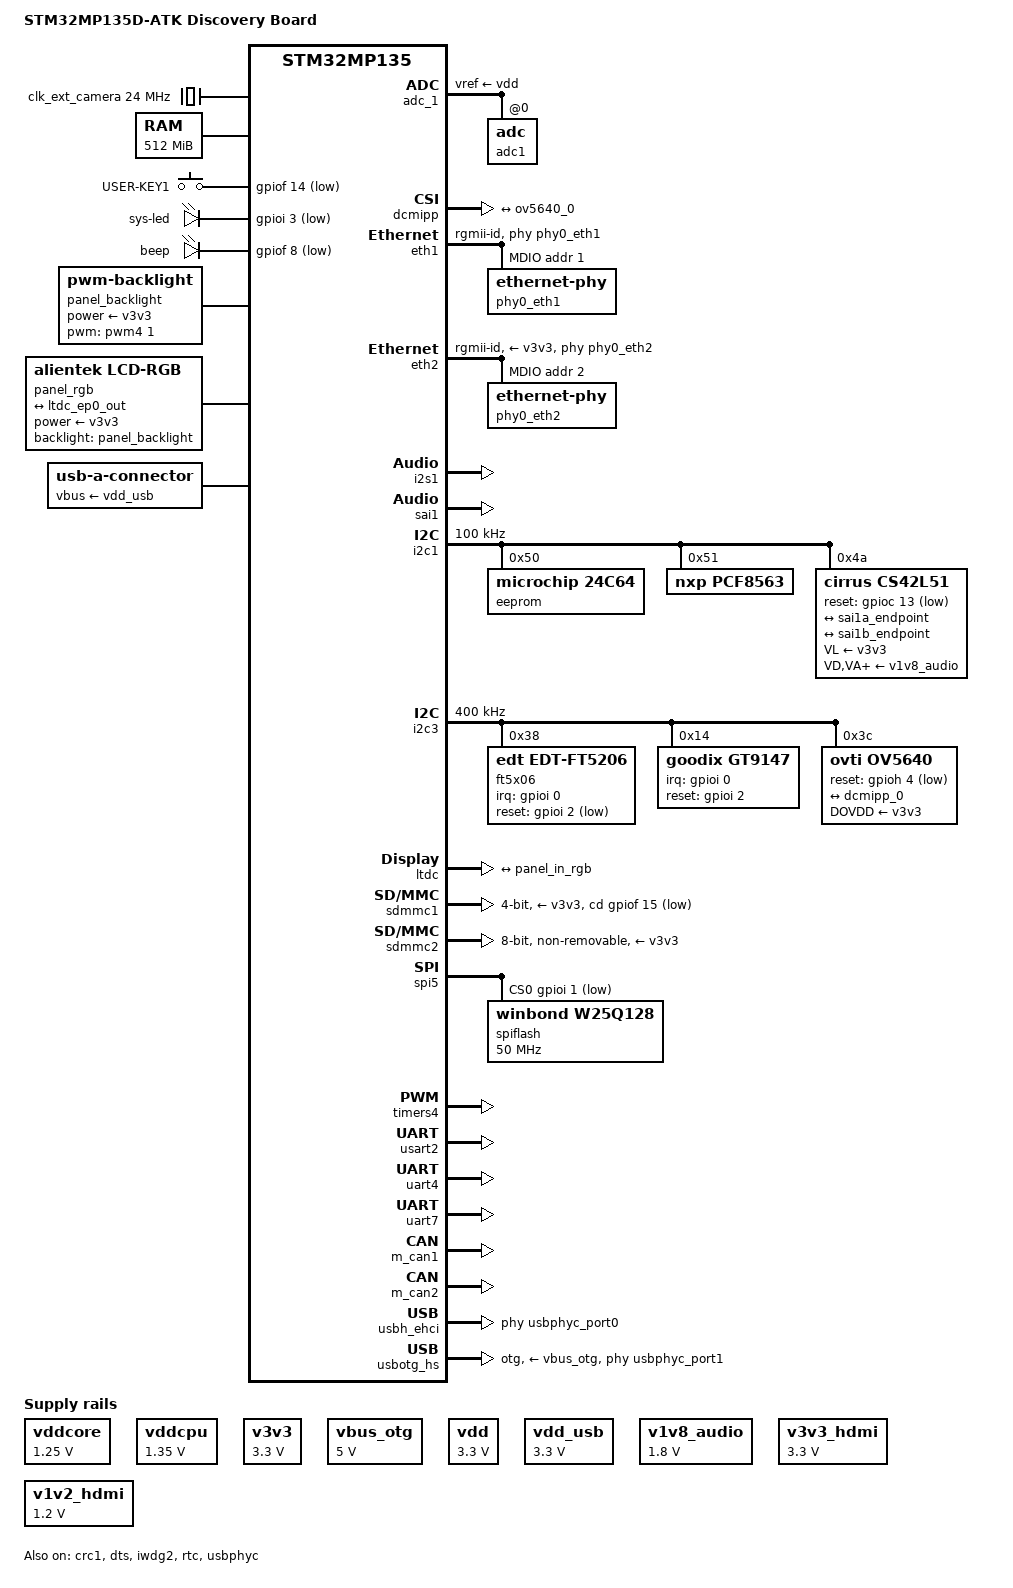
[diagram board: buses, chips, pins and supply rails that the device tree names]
// SPDX-License-Identifier: (GPL-2.0+ OR BSD-3-Clause)
/*
 * Copyright (C) STMicroelectronics 2022 - All Rights Reserved
 * Author: Alexandre Torgue <alexandre.torgue@foss.st.com> for STMicroelectronics.
 */

/dts-v1/;

#include <dt-bindings/gpio/gpio.h>
#include <dt-bindings/input/input.h>
#include <dt-bindings/leds/common.h>
#include <dt-bindings/rtc/rtc-stm32.h>
#include "stm32mp135.dtsi"
#include "stm32mp13xd.dtsi"
#include "stm32mp13-pinctrl-atk.dtsi"
#include <dt-bindings/usb/pd.h>
#include <dt-bindings/pwm/pwm.h>

/ {
	model = "STM32MP135D-ATK Discovery Board";
	compatible = "st,stm32mp135d-atk", "st,stm32mp135";

	aliases {
		ethernet0 = &eth1;
		ethernet1 = &eth2;
		serial0 = &uart4;
		serial1 = &usart2;
		serial2 = &uart7;
	};

	chosen {
		#address-cells = <1>;
		#size-cells = <1>;
		ranges;
		stdout-path = "serial0:115200n8";

		framebuffer {
			compatible = "simple-framebuffer";
			clocks = <&rcc LTDC_PX>;
			status = "disabled";
		};
	};

	clocks {
		clk_ext_camera: clk-ext-camera {
			#clock-cells = <0>;
			compatible = "fixed-clock";
			clock-frequency = <24000000>;
		};

		clk_mco1: clk-mco1 {
			#clock-cells = <0>;
			compatible = "fixed-clock";
			clock-frequency = <24000000>;
		};
	};

	memory@c0000000 {
		device_type = "memory";
		reg = <0xc0000000 0x20000000>;
	};

	gpio-keys {
		compatible = "gpio-keys";
		autorepeat;
		status = "okay";
		
		key1 {
			label = "USER-KEY1";
			linux,code = <114>;
			gpios = <&gpiof 14 (GPIO_ACTIVE_LOW | GPIO_PULL_UP)>;
			gpio-key,wakeup;
		};
	};

	leds {
		compatible = "gpio-leds";

		led-red {
			label = "sys-led";
			gpios = <&gpioi 3 GPIO_ACTIVE_LOW>;
			linux,default-trigger = "heartbeat";
			default-state = "off";
			status = "okay";
		};

		beep {
            label = "beep";
            gpios = <&gpiof 8 GPIO_ACTIVE_LOW>;
            default-state = "off";
			status = "okay";
         };
	};

	reserved-memory {
		#address-cells = <1>;
		#size-cells = <1>;
		ranges;

		optee_framebuffer@dd000000 {
			reg = <0xdd000000 0x1000000>;
			no-map;
		};

		optee@de000000 {
			reg = <0xde000000 0x2000000>;
			no-map;
		};
	};

	vddcore: vddcore {
        compatible = "regulator-fixed";
        regulator-name = "vddcore";
        regulator-min-microvolt = <1250000>;
        regulator-max-microvolt = <1250000>;
        regulator-off-in-suspend;
        regulator-always-on;
	};

	vddcpu: vddcpu {
		compatible = "regulator-fixed";
		regulator-name = "vddcpu";
		regulator-min-microvolt = <1350000>;
		regulator-max-microvolt = <1350000>;
        regulator-off-in-suspend;
        regulator-always-on;
	};

	v3v3: v3v3 {
        compatible = "regulator-fixed";
        regulator-name = "v3v3";
        regulator-min-microvolt = <3300000>;
        regulator-max-microvolt = <3300000>;
        regulator-off-in-suspend;
        regulator-always-on;
    };

	vbus_otg: vbus_otg {
        compatible = "regulator-fixed";
        regulator-name = "vbus_otg";
        regulator-min-microvolt = <5000000>;
        regulator-max-microvolt = <5000000>;
        regulator-off-in-suspend;
		regulator-always-on;
    };

	vdd: vdd {
        compatible = "regulator-fixed";
        regulator-name = "vdd";
        regulator-min-microvolt = <3300000>;
        regulator-max-microvolt = <3300000>;
        regulator-off-in-suspend;
        regulator-always-on;
    };

	vdd_usb: vdd_usb {
        compatible = "regulator-fixed";
        regulator-name = "vdd_usb";
        regulator-min-microvolt = <3300000>;
        regulator-max-microvolt = <3300000>;
        regulator-off-in-suspend;
        regulator-always-on;
    };

	v1v8_audio: regulator-v1v8_audio {
 		compatible = "regulator-fixed";
 		regulator-name = "v1v8_audio";
 		regulator-min-microvolt = <1800000>;
 		regulator-max-microvolt = <1800000>;
 		regulator-always-on;
 		regulator-boot-on;
	};

    v3v3_hdmi: regulator-v3v3-hdmi {
        compatible = "regulator-fixed";
        regulator-name = "v3v3_hdmi";
        regulator-min-microvolt = <3300000>;
        regulator-max-microvolt = <3300000>;
        regulator-always-on;
        regulator-boot-on;
    };

    v1v2_hdmi: regulator-v1v2-hdmi {
        compatible = "regulator-fixed";
        regulator-name = "v1v2_hdmi";
        regulator-min-microvolt = <1200000>;
        regulator-max-microvolt = <1200000>;
        regulator-always-on;
        regulator-boot-on;
    };

/*
	lcd_id select_id:
		alientek_4x3_480x272 = 0,
		alientek_7_800x480 = 1,
		alientek_7_1024x600 = 2,
		alientek_4x3_800x480 = 4,
		alientek_10_1280x800 = 5,
*/
	lcd_id {
        select_id = <2>;
    };

    panel_backlight: panel-backlight {
        compatible = "pwm-backlight";
        pwms = <&pwm4 1 5000000 0>;
		brightness-levels = <
                          0   1   2   3   4   5   6   7
                          8   9  10  11  12  13  14  15
                         16  17  18  19  20  21  22  23
                         24  25  26  27  28  29  30  31
                         32  33  34  35  36  37  38  39
                         40  41  42  43  44  45  46  47
                         48  49  50  51  52  53  54  55
                         56  57  58  59  60  61  62  63
                         64  65  66  67  68  69  70  71
                         72  73  74  75  76  77  78  79
                         80  81  82  83  84  85  86  87
                         88  89  90  91  92  93  94  95
                         96  97  98  99 100 101 102 103
                        104 105 106 107 108 109 110 111
                        112 113 114 115 116 117 118 119
                        120 121 122 123 124 125 126 127
                        128 129 130 131 132 133 134 135
                        136 137 138 139 140 141 142 143
                        144 145 146 147 148 149 150 151
                        152 153 154 155 156 157 158 159
                        160 161 162 163 164 165 166 167
                        168 169 170 171 172 173 174 175
                        176 177 178 179 180 181 182 183
                        184 185 186 187 188 189 190 191
                        192 193 194 195 196 197 198 199
                        200 201 202 203 204 205 206 207
                        208 209 210 211 212 213 214 215
                        216 217 218 219 220 221 222 223
                        224 225 226 227 228 229 230 231
                        232 233 234 235 236 237 238 239
                        240 241 242 243 244 245 246 247
                        248 249 250 251 252 253 254 255>;
        power-supply = <&v3v3>;
        default-brightness-level = <255>;
        status = "okay";
    };

	panel_rgb: panel-rgb {
		compatible = "alientek,lcd-rgb";
		backlight = <&panel_backlight>;
		power-supply = <&v3v3>;
		status = "okay";

		port {
			panel_in_rgb: endpoint {
				remote-endpoint = <&ltdc_ep0_out>;
			};
		};
	};

	sound: sound {
		compatible = "audio-graph-card";
		label = "STM32MP1-DK";
		routing =
			"Playback" , "MCLK",
			"Capture" , "MCLK",
			"MICL" , "Mic Bias";
		dais = <&sai1a_port &sai1b_port>;
		status = "okay";
	};
};

&adc_1 {
	pinctrl-names = "default";
	pinctrl-0 = <&adc1_pins_a>;
	vdda-supply = <&vdd>;
	vref-supply = <&vdd>;
	status = "okay";

	adc1: adc@0 {
		st,min-sample-time-nsecs = <10000>;
		st,adc-channels = <0>;
		assigned-resolution-bits = <12>;//adc max 12 bit
		status = "okay";
	};
};

&crc1 {
	status = "okay";
};

&dcmipp {
	status = "okay";
	pinctrl-names = "default", "sleep";
	pinctrl-0 = <&dcmipp_pins_a>;
	pinctrl-1 = <&dcmipp_sleep_pins_a>;

	port {
		dcmipp_0: endpoint {
			remote-endpoint = <&ov5640_0>;
			bus-width = <8>;
			hsync-active = <0>;
			vsync-active = <0>;
			pclk-sample = <1>;
			pclk-max-frequency = <77000000>;
		};
	};
};

&dma1 {
	sram = <&dma_pool>;
};

&dma2 {
	sram = <&dma_pool>;
};

&dts {
	status = "okay";
};

&eth1 {
	status = "okay";
	pinctrl-0 = <&eth1_rgmii_pins_a>;
	pinctrl-1 = <&eth1_rgmii_sleep_pins_a>;
	pinctrl-names = "default", "sleep";
	phy-mode = "rgmii-id";
	max-speed = <1000>;
	phy-handle = <&phy0_eth1>;
	nvmem-cells = <&ethernet_mac1_address>;
	nvmem-cell-names = "mac-address";

	mdio1 {
		#address-cells = <1>;
		#size-cells = <0>;
		compatible = "snps,dwmac-mdio";
		phy0_eth1: ethernet-phy@1 {
            reg = <1>;
		};
	};
};

&eth2 {
	status = "okay";
	pinctrl-0 = <&eth2_rgmii_pins_a>;
	pinctrl-1 = <&eth2_rgmii_sleep_pins_a>;
	pinctrl-names = "default", "sleep";
	phy-mode = "rgmii-id";
	max-speed = <1000>;
	phy-handle = <&phy0_eth2>;
	phy-supply = <&v3v3>;
	nvmem-cells = <&ethernet_mac2_address>;
	nvmem-cell-names = "mac-address";

	mdio1 {
		#address-cells = <1>;
		#size-cells = <0>;
		compatible = "snps,dwmac-mdio";
		phy0_eth2: ethernet-phy@2 {
            reg = <2>;
		};
	};
};

&i2s1 {
    clocks = <&rcc SPI1_K>, <&rcc SPI1_K>, <&scmi_clk CK_SCMI_PLL3_Q>, <&scmi_clk CK_SCMI_PLL3_R>;
    clock-names = "pclk", "i2sclk", "x8k", "x11k";
	status = "okay";
};

&sai1 {
    clocks = <&rcc SAI1>, <&scmi_clk  CK_SCMI_PLL3_Q>, <&scmi_clk  CK_SCMI_PLL3_R>;
    clock-names = "pclk", "x8k", "x11k";
    pinctrl-names = "default", "sleep";
    pinctrl-0 = <&sai1_pins_a>, <&sai1_pins_b>;
    pinctrl-1 = <&sai1_sleep_pins_a>, <&sai1_sleep_pins_b>;
    status = "okay";

    sai1a: audio-controller@4400a004 {
        #clock-cells = <0>;
        dma-names = "tx";
        status = "okay";

        sai1a_port: port {
            sai1a_endpoint: endpoint {
                remote-endpoint = <&cs42l51_tx_endpoint>;
                format = "i2s";
                mclk-fs = <256>; 
                dai-tdm-slot-num = <2>;
                dai-tdm-slot-width = <32>;
            };
        };
    };

    sai1b: audio-controller@4400a024 {
        dma-names = "rx";
        st,sync = <&sai1a 2>; /* Set SAI1B as slave of SAI1A. */
		clocks = <&rcc SAI1_K>, <&sai1a>;
		clock-names = "sai_ck", "MCLK";
		status = "okay";

        sai1b_port: port {
            sai1b_endpoint: endpoint {
                remote-endpoint = <&cs42l51_rx_endpoint>;
                format = "i2s";
                mclk-fs = <256>;
                dai-tdm-slot-num = <2>;
                dai-tdm-slot-width = <32>;
            };
        };
    };
};

&i2c1 {
	pinctrl-names = "default", "sleep";
	pinctrl-0 = <&i2c1_pins_a>;
	pinctrl-1 = <&i2c1_sleep_pins_a>;
	i2c-scl-rising-time-ns = <96>;
	i2c-scl-falling-time-ns = <3>;
	clock-frequency = <100000>;
	status = "okay";
	/* spare dmas for other usage */
	/delete-property/dmas;
	/delete-property/dma-names;

    eeprom@50 {
          compatible = "microchip,24c64", "atmel,24c64";
          reg = <0x50>;
          pagesize = <32>;
    };

	pcf8563@51{
		compatible = "nxp,pcf8563";
		reg = <0x51>;
		status = "okay";
	};

   cs42l51: cs42l51@4a {
        compatible = "cirrus,cs42l51";
        reg = <0x4a>;
        #sound-dai-cells = <0>;
        VL-supply = <&v3v3>;
        VD-supply = <&v1v8_audio>;
        VA-supply = <&v1v8_audio>;
        VAHP-supply = <&v1v8_audio>;
        reset-gpios = <&gpioc 13 GPIO_ACTIVE_LOW>;
        clocks = <&sai1a>;
        clock-names = "MCLK";
        status = "okay";

        cs42l51_port: port {
            #address-cells = <1>;
            #size-cells = <0>;

            cs42l51_tx_endpoint: endpoint@0 {
                reg = <0>;
                remote-endpoint = <&sai1a_endpoint>;
                frame-master;
                bitclock-master;
            };

            cs42l51_rx_endpoint: endpoint@1 {
                reg = <1>;
                remote-endpoint = <&sai1b_endpoint>;
                frame-master;
                bitclock-master;
            };
        };
    };
};

&i2c3 {
	pinctrl-names = "default", "sleep";
	pinctrl-0 = <&i2c3_pins_a>;
	pinctrl-1 = <&i2c3_sleep_pins_a>;
	i2c-scl-rising-time-ns = <170>;
	i2c-scl-falling-time-ns = <5>;
	clock-frequency = <400000>;
	status = "okay";
	/* spare dmas for other usage */
	/delete-property/dmas;
	/delete-property/dma-names;

    ft5x06: ft5x06@38 {
        compatible = "edt,edt-ft5206";
        reg = <0x38>;
        irq-gpios = <&gpioi 0 GPIO_ACTIVE_HIGH>;
        reset-gpios = <&gpioi 2 GPIO_ACTIVE_LOW>;
        status = "okay";
    };

    gt9147: gt9147@14 {
        compatible = "goodix,gt9147", "goodix,gt1151", "goodix,gt911";
        reg = <0x14>;
		pinctrl-names = "default";
		interrupt-parent = <&gpioi>;
		interrupts = <0 IRQ_TYPE_EDGE_FALLING>;
        irq-gpios = <&gpioi 0 GPIO_ACTIVE_HIGH>;
		reset-gpios = <&gpioi 2 GPIO_ACTIVE_HIGH>;
		status = "okay" ;
	};

    ov5640: camera@3c {
        compatible = "ovti,ov5640";
        reg = <0x3c>;
        clocks = <&clk_ext_camera>;
        clock-names = "xclk";
        DOVDD-supply = <&v3v3>;
        reset-gpios = <&gpioh 4 (GPIO_ACTIVE_LOW | GPIO_PUSH_PULL)>;
        rotation = <180>;
		status = "okay";

        port {
            ov5640_0: endpoint {
                remote-endpoint = <&dcmipp_0>;
                bus-width = <8>;
				bus-type = <5>;
                data-shift = <2>;
                hsync-active = <0>;
                vsync-active = <0>;
                pclk-sample = <1>;
                pclk-max-frequency = <77000000>;
            };
        };
    };
};

&iwdg2 {
	timeout-sec = <32>;
	status = "okay";
};

&ltdc {
	pinctrl-names = "default", "sleep";
	pinctrl-0 = <&ltdc_pins_a>;
	pinctrl-1 = <&ltdc_sleep_pins_a>;
	status = "okay";

	port {
		#address-cells = <1>;
		#size-cells = <0>;

		ltdc_ep0_out: endpoint@0 {
			reg = <0>;
			remote-endpoint = <&panel_in_rgb>;
		};
	};
};

&rtc {
	status = "okay";
};

&sdmmc1 {
	pinctrl-names = "default", "opendrain", "sleep";
	pinctrl-0 = <&sdmmc1_b4_pins_a &sdmmc1_clk_pins_a>;
	pinctrl-1 = <&sdmmc1_b4_od_pins_a &sdmmc1_clk_pins_a>;
	pinctrl-2 = <&sdmmc1_b4_sleep_pins_a>;
	cd-gpios = <&gpiof 15 (GPIO_ACTIVE_LOW | GPIO_PULL_UP)>;
	st,neg-edge;
 	no-1-8-v;
	bus-width = <4>;
	vmmc-supply = <&v3v3>;
	#address-cells = <1>;
	#size-cells = <0>;
	status = "okay";
};

/* EMMC */
&sdmmc2 {
	pinctrl-names = "default", "opendrain", "sleep";
	pinctrl-0 = <&sdmmc2_b4_pins_a &sdmmc2_b4_b7_pins_a &sdmmc2_clk_pins_a>;
	pinctrl-1 = <&sdmmc2_b4_od_pins_a &sdmmc2_b4_b7_od_pins_a &sdmmc2_clk_pins_a>;
	pinctrl-2 = <&sdmmc2_b4_sleep_pins_a &sdmmc2_b4_b7_sleep_pins_a>;
	non-removable;
	st,neg-edge;
 	mmc-ddr-3_3v;
 	no-1-8-v;
	bus-width = <8>;
	vmmc-supply = <&v3v3>;
	keep-power-in-suspend;
	#address-cells = <1>;
	#size-cells = <0>;
	status = "okay";
};

&spi5 {
	pinctrl-names = "default", "sleep";
	pinctrl-0 = <&spi5_pins_a>;
	pinctrl-1 = <&spi5_sleep_pins_a>;
	cs-gpios = <&gpioi 1 GPIO_ACTIVE_LOW>;
	status = "okay";

	spiflash: w25q128@0 {
		compatible = "winbond,w25q128", "jedec,spi-nor";
		reg = <0>;
		spi-max-frequency = <50000000>;
	};
};

&sram {
	dma_pool: dma-sram@0 {
		reg = <0x0 0x4000>;
		pool;
	};
};

&timers4 {
	/delete-property/dmas;
	/delete-property/dma-names;
	status = "okay";
	pwm4:pwm {
		pinctrl-0 = <&pwm4_pins_a>;
		pinctrl-1 = <&pwm4_sleep_pins_a>;
		pinctrl-names = "default", "sleep";
		status = "okay";
	};
};

&usart2 {
	pinctrl-names = "default", "sleep", "idle";
	pinctrl-0 = <&usart2_pins_a>;
	pinctrl-1 = <&usart2_sleep_pins_a>;
	pinctrl-2 = <&usart2_idle_pins_a>;
	/delete-property/dmas;
	/delete-property/dma-names;
	status = "okay";
};

&uart4 {
	pinctrl-names = "default";
	pinctrl-0 = <&uart4_pins_a>;
	/delete-property/dmas;
	/delete-property/dma-names;
	status = "okay";
};

&uart7 {
	pinctrl-names = "default", "sleep", "idle";
	pinctrl-0 = <&uart7_pins_a>;
	pinctrl-1 = <&uart7_sleep_pins_a>;
	pinctrl-2 = <&uart7_idle_pins_a>;
	uart-has-rtscts;
	status = "okay";
};

&m_can1 {
	pinctrl-names = "default", "sleep";
	pinctrl-0 = <&m_can1_pins_a>;
	pinctrl-1 = <&m_can1_sleep_pins_a>;
	/delete-property/dmas;
	/delete-property/dma-names;
	status = "okay";
};

&m_can2 {
	pinctrl-names = "default", "sleep";
	pinctrl-0 = <&m_can2_pins_a>;
	pinctrl-1 = <&m_can2_sleep_pins_a>;
	/delete-property/dmas;
	/delete-property/dma-names;
	status = "okay";
};

&usbh_ehci {
	phys = <&usbphyc_port0>;
	status = "okay";
};

&usbotg_hs {
	phys = <&usbphyc_port1 0>;
	phy-names = "usb2-phy";
	dr_mode = "otg";
	pinctrl-0 = <&usbotg_hs_pins_a>;
	pinctrl-names = "default";
	vbus-supply = <&vbus_otg>;
	status = "okay";
};

&usbphyc {
	status = "okay";
};

&usbphyc_port0 {
	phy-supply = <&vdd_usb>;
	st,current-boost-microamp = <1000>;
	st,decrease-hs-slew-rate;
	st,tune-hs-dc-level = <2>;
	st,enable-hs-rftime-reduction;
	st,trim-hs-current = <11>;
	st,trim-hs-impedance = <2>;
	st,tune-squelch-level = <1>;
	st,enable-hs-rx-gain-eq;
	st,no-hs-ftime-ctrl;
	st,no-lsfs-sc;
	/*
	 * Hack to keep hub active if wakeup source is enabled
	 * otherwise the hub will wakeup the port0 as soon as the v3v3_sw is disabled
	 */
	connector {
		compatible = "usb-a-connector";
		vbus-supply = <&vdd_usb>;
	};
};

&usbphyc_port1 {
	phy-supply = <&vdd_usb>;
	st,current-boost-microamp = <1000>;
	st,decrease-hs-slew-rate;
	st,tune-hs-dc-level = <2>;
	st,enable-hs-rftime-reduction;
	st,trim-hs-current = <11>;
	st,trim-hs-impedance = <2>;
	st,tune-squelch-level = <1>;
	st,enable-hs-rx-gain-eq;
	st,no-hs-ftime-ctrl;
	st,no-lsfs-sc;
};
